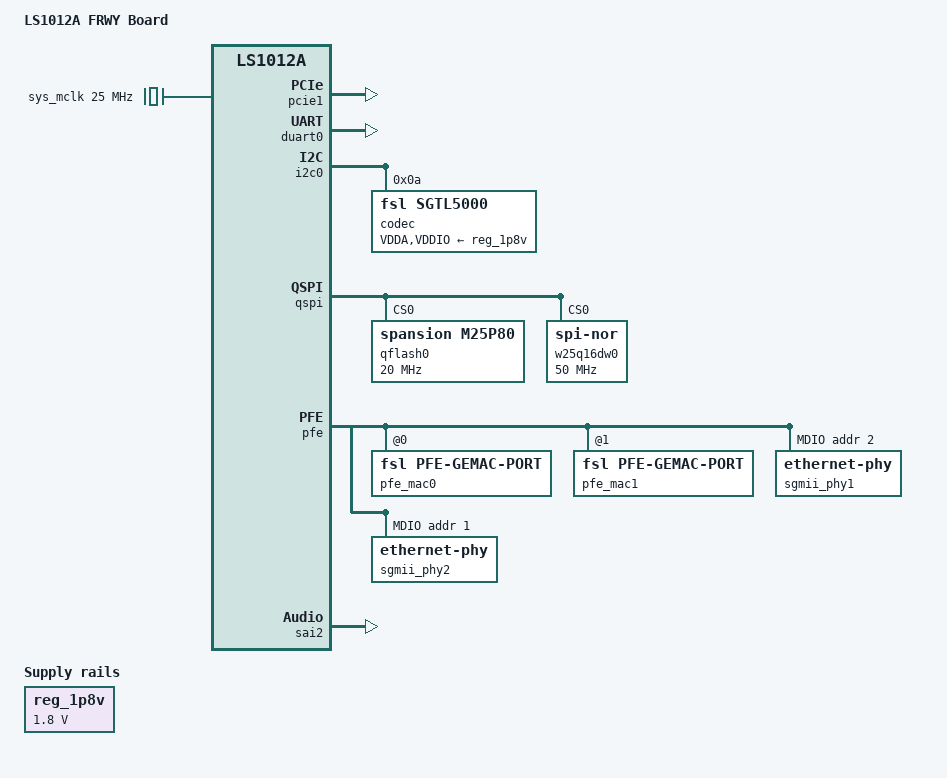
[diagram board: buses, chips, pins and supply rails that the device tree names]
// SPDX-License-Identifier: (GPL-2.0+ OR MIT)
/*
 * Device Tree file for Freescale LS1012A FRWY Board.
 *
 * Copyright 2018 NXP
 *
 * Pramod Kumar <pramod.kumar_1@nxp.com>
 *
 */
/dts-v1/;

#include "fsl-ls1012a.dtsi"

/ {
	model = "LS1012A FRWY Board";
	compatible = "fsl,ls1012a-frwy", "fsl,ls1012a";

	aliases {
		ethernet0 = &pfe_mac0;
		ethernet1 = &pfe_mac1;
		mmc0 = &esdhc0;
		mmc1 = &esdhc1;
	};

	sys_mclk: clock-mclk {
		compatible = "fixed-clock";
		#clock-cells = <0>;
		clock-frequency = <25000000>;
	};

	reg_1p8v: regulator-1p8v {
		compatible = "regulator-fixed";
		regulator-name = "1P8V";
		regulator-min-microvolt = <1800000>;
		regulator-max-microvolt = <1800000>;
		regulator-always-on;
	};

	sound {
		compatible = "simple-audio-card";
		simple-audio-card,format = "i2s";
		simple-audio-card,widgets =
			"Microphone", "Microphone Jack",
			"Headphone", "Headphone Jack",
			"Speaker", "Speaker Ext",
			"Line", "Line In Jack";
		simple-audio-card,routing =
			"MIC_IN", "Microphone Jack",
			"Microphone Jack", "Mic Bias",
			"LINE_IN", "Line In Jack",
			"Headphone Jack", "HP_OUT",
			"Speaker Ext", "LINE_OUT";

		simple-audio-card,cpu {
			sound-dai = <&sai2>;
			frame-master;
			bitclock-master;
		};

		simple-audio-card,codec {
			sound-dai = <&codec>;
			frame-master;
			bitclock-master;
			system-clock-frequency = <25000000>;
		};
	};
};

&pcie1 {
	status = "okay";
};

&duart0 {
	status = "okay";
};

&i2c0 {
	status = "okay";

	codec: sgtl5000@a {
		compatible = "fsl,sgtl5000";
		#sound-dai-cells = <0>;
		reg = <0xa>;
		VDDA-supply = <&reg_1p8v>;
		VDDIO-supply = <&reg_1p8v>;
		clocks = <&sys_mclk>;
	};
};

&qspi {
	num-cs = <1>;
	bus-num = <0>;
	status = "okay";

	qflash0: w25q16dw@0 {
		compatible = "spansion,m25p80";
		#address-cells = <1>;
		#size-cells = <1>;
		m25p,fast-read;
		spi-max-frequency = <20000000>;
		reg = <0>;
	};
};

&pfe {
	status = "okay";
	#address-cells = <1>;
	#size-cells = <0>;

	pfe_mac0: ethernet@0 {
		compatible = "fsl,pfe-gemac-port";
		#address-cells = <1>;
		#size-cells = <0>;
		reg = <0x0>;	/* GEM_ID */
		fsl,gemac-bus-id = <0x0>;	/* BUS_ID */
		fsl,mdio-mux-val = <0x0>;
		phy-mode = "sgmii";
		phy-handle = <&sgmii_phy1>;
	};

	pfe_mac1: ethernet@1 {
		compatible = "fsl,pfe-gemac-port";
		#address-cells = <1>;
		#size-cells = <0>;
		reg = <0x1>;	/* GEM_ID */
		fsl,mdio-mux-val = <0x0>;
		phy-mode = "sgmii";
		phy-handle = <&sgmii_phy2>;
	};

	mdio@0 {
		#address-cells = <1>;
		#size-cells = <0>;

		sgmii_phy1: ethernet-phy@2 {
			reg = <0x2>;
		};

		sgmii_phy2: ethernet-phy@1 {
			reg = <0x1>;
		};
	};
};

&sai2 {
	status = "okay";
};

&pcie1 {
	status = "okay";
};

&qspi {
	status = "okay";

	w25q16dw0: flash@0 {
		compatible = "jedec,spi-nor";
		#address-cells = <1>;
		#size-cells = <1>;
		m25p,fast-read;
		spi-max-frequency = <50000000>;
		reg = <0>;
		spi-rx-bus-width = <2>;
		spi-tx-bus-width = <2>;
	};
};
